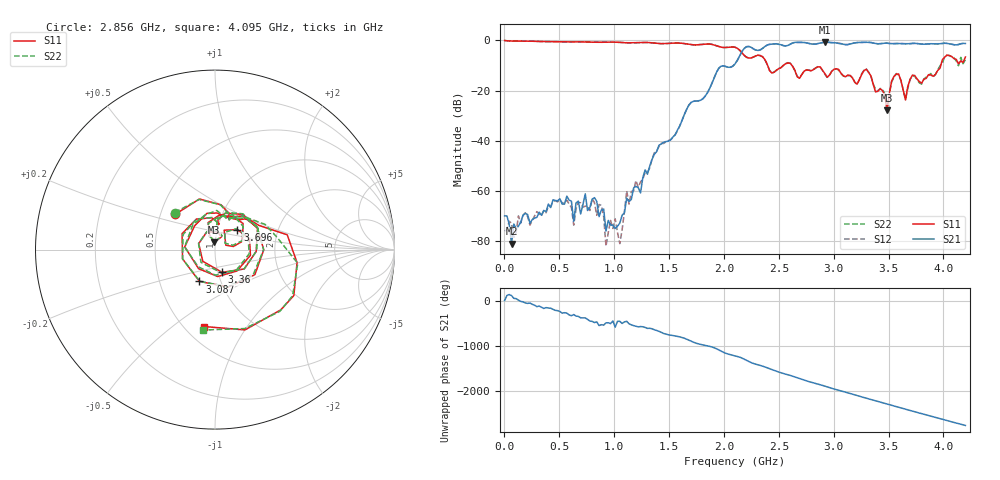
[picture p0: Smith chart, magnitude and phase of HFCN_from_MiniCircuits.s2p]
# MHz S MA R 50
!  freq  S11  S21  S12  S22
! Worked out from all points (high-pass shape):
!   201 points, 1 MHz to 4.2 GHz, reference 50 ohm
!   highest |S21| = -0.73 dB at 2.919 GHz (marker M1); lowest = -80.9 dB at 63.98 MHz (marker M2)
!   |S21| within 3 dB of the highest: 2.176 GHz to 2.283 GHz (106.6 MHz wide, 4.78 % of centre); 2.334 GHz to end of sweep
!   lowest |S11| = -27.9 dB at 3.486 GHz (marker M3), VSWR 1.08, Z = 49.5 + j3.97 ohm
!   |S11| at or under -10 dB: 2.398 GHz to 2.541 GHz (143.4 MHz wide, 5.81 % of centre); 2.619 GHz to 3.976 GHz (1.357 GHz wide, 41.1 % of centre)
!   |S22| runs from -26.3 to -0.1 dB; largest |S21 - S12| = 0.017
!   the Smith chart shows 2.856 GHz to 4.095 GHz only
!   S11 on the Smith chart (normalised r, x): 2.856 GHz: 0.60, +0.26; 3.087 GHz: 0.79, -0.29; 3.36 GHz: 1.05, -0.27; 3.696 GHz: 1.25, +0.28; 4.095 GHz: 0.62, -0.65
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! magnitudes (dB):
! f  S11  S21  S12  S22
! 1 MHz  -0.1  -69.9  -75.9  -0.1
! 63.98 MHz  -0.3  -80.9  -72.8  -0.3
! 190 MHz  -0.3  -68.9  -68.6  -0.3
! 714.8 MHz  -0.6  -65.4  -66.4  -0.6
! 882.8 MHz  -0.8  -67.5  -65.7  -0.8
! 924.8 MHz  -0.7  -75.9  -81.9  -0.7
! 1.009 GHz  -0.7  -74.9  -71.1  -0.8
! 1.051 GHz  -0.8  -72.8  -80.9  -0.8
! 1.114 GHz  -1.0  -62.9  -59.9  -1.0
! 1.408 GHz  -1.3  -41.8  -42.3  -1.3
! 2.1 GHz  -2.7  -9.4  -9.4  -2.7
! 2.814 GHz  -11.7  -1.5  -1.5  -11.6
! 2.856 GHz  -10.6  -1.3  -1.3  -10.3
! 2.919 GHz  -13.3  -0.7  -0.7  -13.5
! 3.087 GHz  -14.1  -1.6  -1.6  -14.2
! 3.36 GHz  -17.6  -1.1  -1.1  -17.4
! 3.486 GHz  -27.9  -1.1  -1.1  -26.3
! 3.507 GHz  -21.1  -1.3  -1.2  -21.4
! 3.654 GHz  -23.8  -1.4  -1.4  -23.6
! 3.696 GHz  -15.6  -1.3  -1.3  -15.6
! 4.095 GHz  -7.3  -1.8  -1.8  -6.9
! 4.2 GHz  -6.7  -1.3  -1.3  -7.8
